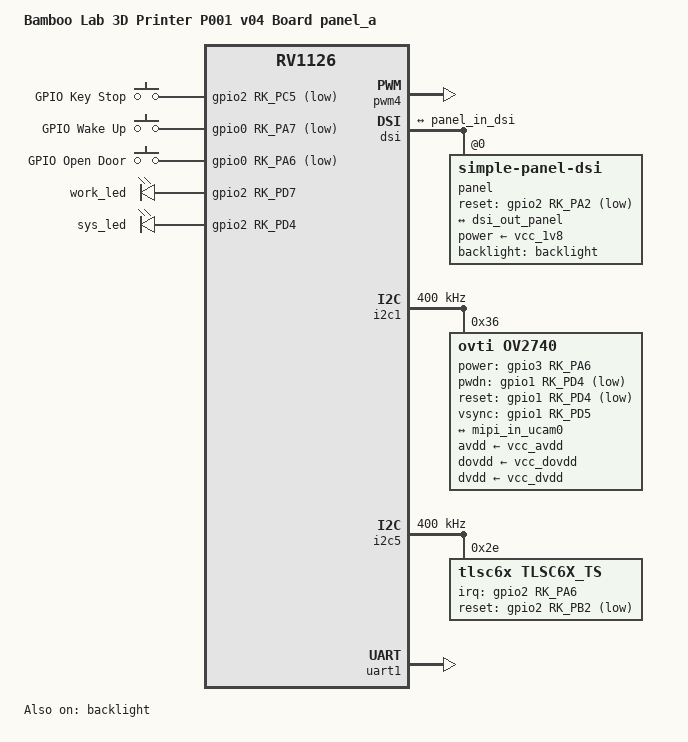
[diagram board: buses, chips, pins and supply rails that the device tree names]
// SPDX-License-Identifier: (GPL-2.0+ OR MIT)
/*
 * Copyright (c) 2020 Rockchip Electronics Co., Ltd.
 */
/dts-v1/;
#include "rv1126.dtsi"
#include "rv1126-bl-p001-v3.dtsi"
/ {
	model = "Bamboo Lab 3D Printer P001 v04 Board panel_a";
	compatible = "rockchip,rv1126";

	chosen {
		bootargs = "earlycon=uart8250,mmio32,0xff570000 console=ttyFIQ0 root=PARTUUID=614e0000-0000 rootfstype=ext4 rootwait snd_aloop.index=7";
	};

	gpio-keys {
		compatible = "gpio-keys";
		#address-cells = <1>;
		#size-cells = <0>;

		e_stop {
			gpios = <&gpio2 RK_PC5 GPIO_ACTIVE_LOW>;
			linux,code = <KEY_STOP>;
			label = "GPIO Key Stop";
			linux,input-type = <1>;
			gpio-key,wakeup = <1>;
			debounce-interval = <100>;
            pinctrl-names = "default";
            pinctrl-0 = <&e_stop_pin>;
		};

		wakeup {
			gpios = <&gpio0 RK_PA7 GPIO_ACTIVE_LOW>;
			linux,code = <KEY_POWER>;
			label = "GPIO Wake Up";
			linux,input-type = <1>;
			gpio-key,wakeup = <1>;
			debounce-interval = <100>;
            pinctrl-names = "default";
            pinctrl-0 = <&wakeup_pin>;
		};

		open_door {
			gpios = <&gpio0 RK_PA6 GPIO_ACTIVE_LOW>;
			linux,code = <KEY_OPEN>;
			label = "GPIO Open Door";
			linux,input-type = <1>;
			gpio-key,wakeup = <1>;
			debounce-interval = <100>;
            pinctrl-names = "default";
            pinctrl-0 = <&open_door_pin>;
		};
	};

	gpio-leds {
		compatible = "gpio-leds";

		work_led {
			gpios = <&gpio2 RK_PD7 GPIO_ACTIVE_HIGH>;
			linux,default-trigger = "timer";
		};

	    sys_led {
			gpios = <&gpio2 RK_PD4 GPIO_ACTIVE_HIGH>;
			linux,default-trigger = "none";
		};

	};
};

&pinctrl {
    lcd_rst {
        lcd_rst_gpio: lcd-rst-gpio {
            rockchip,pins = <2 RK_PA2 RK_FUNC_GPIO &pcfg_pull_none>;
        };
    };

	touth_panel {
		pinctrl_tlsc6x: pinctrl_tlsc6x {
			rockchip,pins =
				/* tp rst */
				<2 RK_PB2 RK_FUNC_GPIO &pcfg_pull_up>,
				/* tp int */
				<2 RK_PA6 RK_FUNC_GPIO &pcfg_pull_up>;
		};
	};

    buttons {
        e_stop_pin: e_stop_pin {
			rockchip,pins = <2 RK_PC5 RK_FUNC_GPIO &pcfg_pull_up>;
        };

        wakeup_pin: wakeup_pin {
			rockchip,pins = <0 RK_PA7 RK_FUNC_GPIO &pcfg_pull_up>;
        };

        open_door_pin: open_door_pin {
			rockchip,pins = <0 RK_PA6 RK_FUNC_GPIO &pcfg_pull_up>;
        };
    };

    leds {
        work_led_pin: work_led_pin {
			rockchip,pins = <2 RK_PD7 RK_FUNC_GPIO &pcfg_pull_down>;
        };

        sys_led_pin: sys_led_pin {
			rockchip,pins = <2 RK_PD5 RK_FUNC_GPIO &pcfg_pull_down>;
        };
    };

};

&pwm4 {
	status = "okay";
	pinctrl-names = "active";
	pinctrl-0 = <&pwm4m1_pins_pull_down>;
};

&backlight {
	status = "okay";
    pwms = <&pwm4 0 25000 0>;
	pwm-names = "backlight";
	enable-gpios = <&gpio1 RK_PD7 GPIO_ACTIVE_HIGH>;
};

&dsi {
	status = "okay";

    rockchip,lane-rate = <480>;
	panel@0 {
		compatible = "simple-panel-dsi";
		reg = <0>;
		backlight = <&backlight>;
		power-supply = <&vcc_1v8>;
		prepare-delay-ms = <5>;
		reset-delay-ms = <1>;
		init-delay-ms = <80>;
		disable-delay-ms = <10>;
		unprepare-delay-ms = <5>;

        reset-gpios = <&gpio2 RK_PA2 GPIO_ACTIVE_LOW>;
        pinctrl-names = "default";
        pinctrl-0 = <&lcd_rst_gpio>;

		width-mm = <68>;
		height-mm = <121>;

		dsi,flags = <(MIPI_DSI_MODE_VIDEO | MIPI_DSI_MODE_VIDEO_BURST |
			      MIPI_DSI_MODE_LPM | MIPI_DSI_MODE_EOT_PACKET)>;
		dsi,format = <MIPI_DSI_FMT_RGB888>;
		dsi,lanes = <4>;

        panel-init-sequence = [
			39 00 04 B9 FF 83 94
			39 00 07 BA 63 03 68 6B B2 C0
			39 00 0B B1 48 19 79 09 32 64 74 34 61 39
			39 00 02 BD 01
			39 00 05 B1 76 77 11 00
			39 00 02 BD 00
			39 00 07 B2 00 80 64 07 08 2F
			39 00 16 B4 0A 77 0A 77 00 FF 00 00 FF 35 00 3F 01 70 01 70 01 70 01 0C 76
			39 00 03 B6 3D 3D
			39 05 3B E0 00 0E 19 20 23 27 2B 29 55 67 78 77 81 94 99 9D AB AE AA B7 C6 61 5F 63 66 6A 71 7E 7F 00 0E 19 20 23 27 2B 29 55 67 78 77 81 94 99 9D AB AE AA B7 C6 61 5F 63 66 6A 71 7E 7F
			39 00 02 D2 CC
			39 05 22 D3 00 00 00 00 00 00 08 00 32 10 02 00 02 32 15 09 05 09 32 10 00 00 00 37 03 06 06 37 00 00 00 07 40
			39 05 2D D5 19 19 25 24 18 18 18 18 18 18 07 06 07 06 05 04 05 04 03 02 03 02 01 00 01 00 21 20 18 18 18 18 18 18 18 18 18 18 18 18 18 18 18 18
			39 05 2D D6 18 18 20 21 19 19 18 18 18 18 00 01 00 01 02 03 02 03 04 05 04 05 06 07 06 07 24 25 18 18 18 18 18 18 18 18 18 18 18 18 18 18 18 18
			39 00 02 BD 02
			39 00 0D D8 FF FF FF FF 00 00 FF FF FF FF 00 00
			39 00 02 BD 00
			39 00 02 CC 0B
			39 00 03 C0 1F 31
			05 78 01 11
			05 0A 01 29
			];

        panel-exit-sequence = [
            05 14 01 28
            05 32 01 10
            ];

        display-timings {
			native-mode = <&timing0>;

			timing0: timing0 {
				clock-frequency = <71000000>;
				hactive = <720>;
				vactive = <1280>;
				hfront-porch = <70>;
				hsync-len = <20>;
				hback-porch = <60>;
				vfront-porch = <20>;
				vsync-len = <4>;
				vback-porch = <27>;
				hsync-active = <0>;
				vsync-active = <0>;
				de-active = <0>;
				pixelclk-active = <0>;
			};
		};

		ports {
			#address-cells = <1>;
			#size-cells = <0>;

			port@0 {
				reg = <0>;
				panel_in_dsi: endpoint {
					remote-endpoint = <&dsi_out_panel>;
				};
			};
		};
	};

	ports {
		#address-cells = <1>;
		#size-cells = <0>;

		port@1 {
			reg = <1>;
			dsi_out_panel: endpoint {
				remote-endpoint = <&panel_in_dsi>;
			};
		};
	};

};

&i2c1 {
	status = "okay";
	clock-frequency = <400000>;

	ov2740: ov2740@36 {
		compatible = "ovti,ov2740";
		reg = <0x36>;

		clocks = <&cru CLK_MIPICSI_OUT>;
		clock-names = "xvclk";

		power-domains = <&power RV1126_PD_VI>;
		pinctrl-names = "rockchip,camera_default";
		pinctrl-0 = <&mipicsi_clk0>;
		power-gpios = <&gpio3 RK_PA6 GPIO_ACTIVE_HIGH>;
		pwdn-gpios = <&gpio1 RK_PD4 GPIO_ACTIVE_LOW>;
		reset-gpios = <&gpio1 RK_PD4 GPIO_ACTIVE_LOW>;
		vsync-gpios = <&gpio1 RK_PD5 GPIO_ACTIVE_HIGH>;

		avdd-supply = <&vcc_avdd>;
		dovdd-supply = <&vcc_dovdd>;
		dvdd-supply = <&vcc_dvdd>;

		rockchip,camera-module-index = <0>;
		rockchip,camera-module-facing = "front";
		rockchip,camera-module-name = "YT-RV1109-2-V1";
		rockchip,camera-module-lens-name = "40IR-2MP-F20";
		port {
			reg = <0x7010 0x100>;
			ucam_out0: endpoint {
				remote-endpoint = <&mipi_in_ucam0>;
				data-lanes = <1 2>;
			};
		};
	};
};

&i2c5 {
	status = "okay";
	pinctrl-0 = <&i2c5m2_xfer>;
	clock-frequency = <400000>;

	tlsc6x_ts@2e {
		compatible = "tlsc6x,tlsc6x_ts";
		reg = <0x2e>;
		pinctrl-names = "default";
		pinctrl-0 = <&pinctrl_tlsc6x>;
		tlsc6x,irq-gpio = <&gpio2 RK_PA6 IRQ_TYPE_EDGE_FALLING>;
		tlsc6x,reset-gpio = <&gpio2 RK_PB2 GPIO_ACTIVE_LOW>;
		TP_MAX_X = <720>;
		TP_MAX_Y = <1280>;
	};
};

&uart1 {
    status = "okay";
    pinctrl-names = "default";
    dma-names = "tx", "rx";
    pinctrl-0 = <&uart1m0_xfer>;
};

&sdmmc {
        max-frequency = <25000000>;
};
